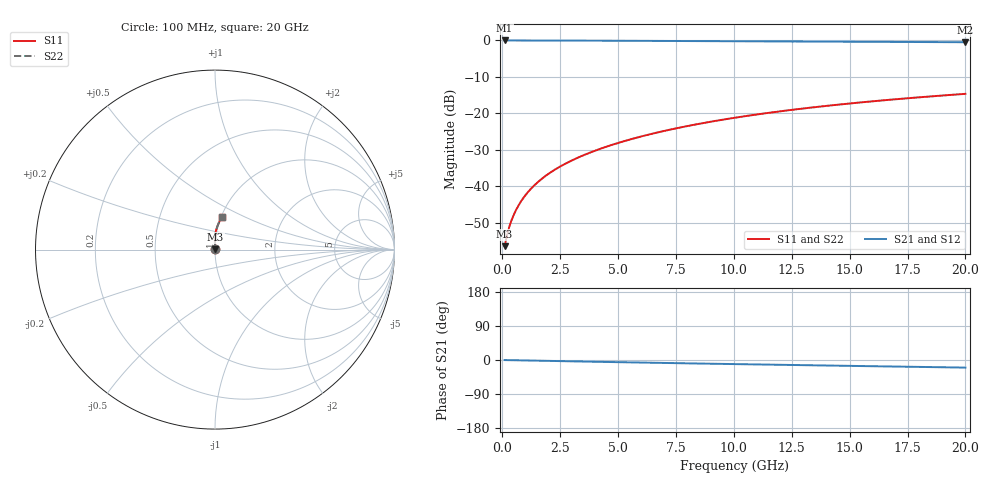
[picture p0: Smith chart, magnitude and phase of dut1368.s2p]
! Touchstone file exported from HFSS 2024.1.0
!  File:  C:/UserFiles/LocalFiles/RDL_TSV_Batchsim/temp_RDL_bottom_1368_1780371049.aedt
!  Generated:  11:33:26 AM Jun  2, 2026
!  Design:  RDL_bottom
!  Project:  temp_RDL_bottom_1368_1780371049
!  Setup:  Setup1
!  Solution:  Sweep
! Variables:
!  dtsv = 10.80580581um
!  hbump = 3um
!  htsv = 99.95um
!  ldown = 276.23um
!  lrdl = 100um
!  p = 40
!  p1 = 47.99um
!  rhole = 1um
!  t = 450um
!  tdown = 3.66um
!  trdl = 3.915915916um
!  wdown = 25.98um
!  wrdl = 20um
# GHz S MA R 50.000000
! Terminal data exported
! Port[1] = RDL1_T1
! Port[2] = RDL1_T2
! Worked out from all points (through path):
!   200 points, 100 MHz to 20 GHz, reference 50 ohm
!   highest |S21| = -0.01 dB at 100 MHz (marker M1); lowest = -0.5 dB at 20 GHz (marker M2)
!   group delay of S21, straight-line fit = 2.75 ps
!   lowest |S11| = -56.3 dB at 100 MHz (marker M3), VSWR 1.00, Z = 50.1 + j0.0851 ohm
!   |S11| at or under -10 dB: start of sweep to end of sweep
!   |S22| runs from -56.3 to -14.6 dB; largest |S21 - S12| = 3.5e-15
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0.1  0.001522 33.9  0.9987 -0.1  0.9987 -0.1  0.001522 33.9
! Gamma 0 0 0 0
! Port Impedance 50 0 50 0
0.2  0.002123 50.9  0.9986 -0.2  0.9986 -0.2  0.002123 50.9
0.3  0.002781 59.6  0.9985 -0.4  0.9985 -0.4  0.002781 59.6
0.4  0.003448 65.0  0.9984 -0.5  0.9984 -0.5  0.003448 65.0
0.5  0.00412 68.9  0.9984 -0.6  0.9984 -0.6  0.00412 68.9
0.6  0.004801 71.9  0.9983 -0.7  0.9983 -0.7  0.004801 71.9
0.8  0.006186 76.1  0.9981 -1.0  0.9981 -1.0  0.006186 76.1
1.1  0.008314 80.1  0.9979 -1.3  0.9979 -1.3  0.008314 80.1
1.3  0.009758 81.9  0.9976 -1.5  0.9976 -1.5  0.009759 81.9
1.6  0.01196 84.0  0.9973 -1.9  0.9973 -1.9  0.01196 84.0
2.1  0.0157 86.2  0.9965 -2.5  0.9965 -2.5  0.0157 86.2
2.7  0.02032 88.0  0.9954 -3.2  0.9954 -3.2  0.02032 88.0
3.5  0.02672 89.6  0.9936 -4.1  0.9936 -4.1  0.02672 89.6
4.2  0.03253 90.4  0.9917 -4.9  0.9917 -4.9  0.03253 90.4
5  0.03943 90.9  0.9894 -5.7  0.9894 -5.7  0.03943 90.9
6.8  0.05582 90.9  0.9838 -7.6  0.9838 -7.6  0.05582 90.9
8.4  0.07116 90.1  0.9787 -9.2  0.9787 -9.2  0.07116 90.1
10.1  0.08793 88.7  0.9733 -10.9  0.9733 -10.9  0.08793 88.7
11.7  0.1039 87.1  0.9685 -12.4  0.9685 -12.4  0.1039 87.1
13.4  0.121 85.2  0.9635 -14.0  0.9635 -14.0  0.121 85.2
16.7  0.1537 81.5  0.9541 -17.1  0.9541 -17.1  0.1537 81.5
20  0.1855 77.8  0.9449 -20.0  0.9449 -20.0  0.1855 77.8
